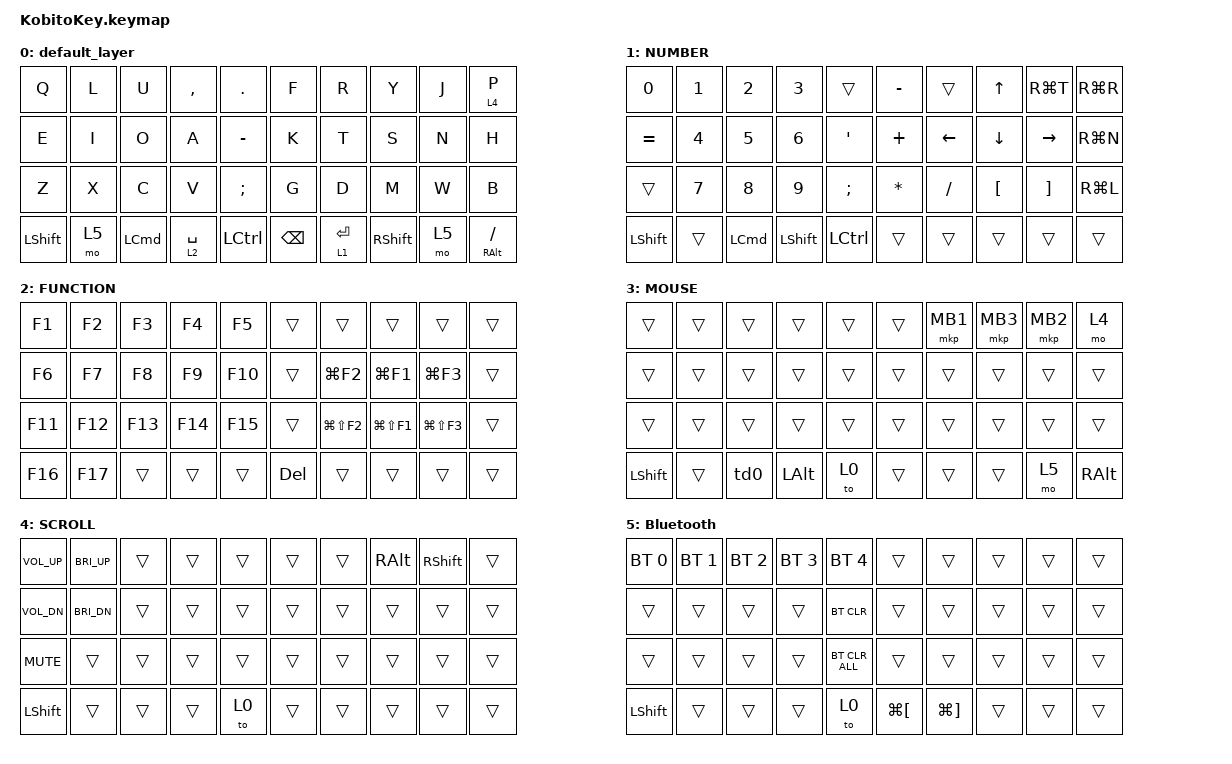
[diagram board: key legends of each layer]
#include <input/processors.dtsi>
#include <behaviors/rgbled_widget.dtsi>
#include <behaviors.dtsi>
#include <dt-bindings/zmk/bt.h>
#include <dt-bindings/zmk/keys.h>
#include <dt-bindings/zmk/pointing.h>

/ {
    /*
     * ジェスチャーパッド。
     *
     * gesture_left / gesture_right の中に zone1, zone2, ... と書いた数が、
     * そのままパッドの分割数になる(1〜5)。zone1 が一番上で、下へ順に並べる。
     * 解除の長押しをした位置のゾーンが、解除後に使われる。
     *
     * 各ゾーンの書き方:
     *
     *   zoneN {
     *       mode = "step";                          // 省略すると "step"
     *       bindings = <上げ 下げ ダブルタップ>;   // ちょうど3つ。使わないものは &none
     *       led-color = <3>;                        // 省略すると上から緑・黄・赤・マゼンタ・青
     *   };
     *
     * mode = "scroll" のゾーンは、マウスのホイールを直接動かすので、bindings を
     * 書かなくてよい(書けば、3つ目がダブルタップになる)。
     *
     * mode:
     *   "step"       なぞった量だけ、目盛りごとに連続して出す(音量など)。
     *                はじいても何も足さない
     *   "flick"      1回のスワイプで1回だけ出す(曲送りなど)
     *   "step-flip"  "step" と同じ動きに、はじいて離したとき一気に数段足す動きを
     *                加える。はじきの有無だけが "step" との違い
     *   "scroll"     なぞった量だけ、マウスのホイールを直接動かす
     *   "tap"        このゾーンで解除すると、パッド全体が選択肢の数に分かれ、長押しして
     *                振動が入ったとき、触れた場所の選択肢(bindings が上から順)を入力する
     *                (ダブルタップで double-bindings)
     *   "cycle"      選択肢をフリックで順に切り替える(上へ=次、下へ=前)。ダブルタップで
     *                反対側(double-bindings)と元を行き来する
     *
     * 「上げ」は、パッドを物理的に上へなぞった向き(右手・左手とも同じ)。
     * led-color は bit0 赤, bit1 緑, bit2 青(1=赤 2=緑 3=黄 4=青 5=マゼンタ 6=水色 7=白)。
     */
    gesture_left: gesture_left {
        compatible = "kobitokey,gesture-zones";

        zone1 {
            /* 輝度 */
            mode = "step";
            bindings = <&kp C_BRI_UP &kp C_BRI_DN &none>;
        };
        zone2 {
            /* 音量(ダブルタップでミュート) */
            mode = "step";
            bindings = <&kp C_VOL_UP &kp C_VOL_DN &kp C_MUTE>;
        };
    };

    gesture_right: gesture_right {
        compatible = "kobitokey,gesture-zones";

        zone1 {
            /*
             * Rhino のビューポートのタブ(画面右下の Perspective / Top / Front / Right)の
             * 切り替え。このゾーンで解除したあと、フリックで順に切り替える
             * (上へ=次、下へ=前。Perspective → Top → Front → Right → Perspective)。
             * ダブルタップは使わない(反対側のビューはタブにないため)。
             *
             * 送るのは Ctrl+Command+1〜4(Rhino 側の内部名は MacControlCommand1〜4)。
             * Rhino 側に、このキーのショートカットを登録しておく必要がある
             * (rhino_set_view_shortcuts.py を Rhino で1回実行する)。
             *   1 Perspective / 2 Top / 3 Front / 4 Right
             */
            mode = "cycle";
            bindings = <&kp LC(LG(N1)) &kp LC(LG(N2)) &kp LC(LG(N3)) &kp LC(LG(N4))>;
        };
        zone2 {
            /*
             * 選択肢(Claude Code デスクトップアプリの承認)。このゾーンで解除すると、
             * パッド全体が3つに分かれ(上から 1, 2, 3)、選びたい場所を長押しして
             * 振動が入ったとき、そのキーが入力される(入力しても、ロックは続く)。
             *   上 1(拒否)
             *   中 2(常に許可)
             *   下 3(一度だけ許可)
             * ⌘Enter / ⌘Shift+Enter は、画面によって意味が変わる・効かないので、番号キーにした。
             */
            mode = "tap";
            bindings = <&kp N1 &kp N2 &kp N3>;
        };
        zone3 {
            /* 曲送り(1回のスワイプで1曲、ダブルタップで再生/停止) */
            mode = "flick";
            bindings = <&kp C_NEXT &kp C_PREV &kp C_PP>;
        };
    };
};

/ {
    combos {
        compatible = "zmk,combos";

        combo_eisu {
            timeout-ms = <50>;
            key-positions = <12 13>;
            bindings = <&kp LANG2>;
        };

        combo_kana {
            timeout-ms = <50>;
            key-positions = <16 17>;
            bindings = <&kp LANG1>;
        };

        combo_esc {
            timeout-ms = <50>;
            key-positions = <0 1>;
            bindings = <&kp ESC>;
        };

        combo_tab {
            timeout-ms = <50>;
            key-positions = <10 11>;
            bindings = <&kp TAB>;
        };
    };

    behaviors {
        td0: tap_dance_0 {
            compatible = "zmk,behavior-tap-dance";
            #binding-cells = <0>;
            tapping-term-ms = <200>;
            bindings = <&kp LCMD>, <&to 0>;
        };

        lt2_space_repeat: lt2_space_repeat {
            compatible = "zmk,behavior-hold-tap";
            #binding-cells = <2>;
            flavor = "tap-preferred";
            tapping-term-ms = <200>;
            quick-tap-ms = <200>;
            bindings = <&mo>, <&kp>;
        };


        
    };

    keymap {
        compatible = "zmk,keymap";

        default_layer {
            bindings = <
&kp Q      &kp L  &kp U     &kp COMMA    &kp DOT    &kp F     &kp R        &kp Y      &kp J  &lt 4 P
&kp E      &kp I  &kp O     &kp A        &kp MINUS  &kp K     &kp T        &kp S      &kp N  &kp H
&kp Z      &kp X  &kp C     &kp V        &kp SEMI   &kp G     &kp D        &kp M      &kp W  &kp B
&kp LSHFT  &mo 5  &kp LCMD  &lt2_space_repeat 2 SPACE  &kp LCTRL  &kp BSPC  &lt 1 ENTER  &kp RSHFT  &mo 5  &mt RALT SLASH
            >;
        };

        layer1 {
            label = "NUMBER";
            bindings = <
&kp N0     &kp N1  &kp N2    &kp N3     &trans         &kp MINUS  &trans     &kp UP    &kp RG(T)  &kp RG(R)
&kp EQUAL  &kp N4  &kp N5    &kp N6     &kp APOS       &kp PLUS   &kp LEFT   &kp DOWN  &kp RIGHT  &kp RG(N)
&trans     &kp N7  &kp N8    &kp N9     &kp SEMICOLON  &kp ASTRK  &kp SLASH  &kp LBKT  &kp RBKT   &kp RG(L)
&kp LSHFT  &trans  &kp LCMD  &kp LSHFT  &kp LCTRL      &trans     &trans     &trans    &trans     &trans
            >;
        };

        layer2 {
            label = "FUNCTION";
            bindings = <
&kp F1   &kp F2   &kp F3   &kp F4   &kp F5   &trans   &trans          &trans          &trans          &trans
&kp F6   &kp F7   &kp F8   &kp F9   &kp F10  &trans   &kp LG(F2)      &kp LG(F1)      &kp LG(F3)      &trans
&kp F11  &kp F12  &kp F13  &kp F14  &kp F15  &trans   &kp LG(LS(F2))  &kp LG(LS(F1))  &kp LG(LS(F3))  &trans
&kp F16  &kp F17  &trans   &trans   &trans   &kp DEL  &trans          &trans          &trans          &trans
            >;
        };

        layer3 {
            label = "MOUSE";
            bindings = <
&trans     &trans  &trans  &trans    &trans  &trans  &mkp MB1  &mkp MB3  &mkp MB2  &mo 4
&trans     &trans  &trans  &trans    &trans  &trans  &trans    &trans    &trans    &trans
&trans     &trans  &trans  &trans    &trans  &trans  &trans    &trans    &trans    &trans
&kp LSHFT  &trans  &td0    &kp LALT  &to 0   &trans  &trans    &trans    &mo 5     &kp RALT
            >;
        };

        layer4 {
            label = "SCROLL";
            bindings = <
&kp C_VOL_UP  &kp C_BRI_UP  &trans  &trans  &trans  &trans  &trans  &kp RIGHT_ALT  &kp RIGHT_SHIFT  &trans
&kp C_VOL_DN  &kp C_BRI_DN  &trans  &trans  &trans  &trans  &trans  &trans         &trans           &trans
&kp C_MUTE    &trans        &trans  &trans  &trans  &trans  &trans  &trans         &trans           &trans
&kp LSHFT     &trans        &trans  &trans  &to 0   &trans  &trans  &trans         &trans           &trans
            >;
        };

        layer5 {
            label = "Bluetooth";
            bindings = <
&bt BT_SEL 0  &bt BT_SEL 1  &bt BT_SEL 2  &bt BT_SEL 3  &bt BT_SEL 4    &trans        &trans        &trans  &trans  &trans
&trans        &trans        &trans        &trans        &bt BT_CLR      &trans        &trans        &trans  &trans  &trans
&trans        &trans        &trans        &trans        &bt BT_CLR_ALL  &trans        &trans        &trans  &trans  &trans
&kp LSHFT     &trans        &trans        &trans        &to 0           &kp LG(LBKT)  &kp LG(RBKT)  &trans  &trans  &trans
            >;
        };
    };
};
